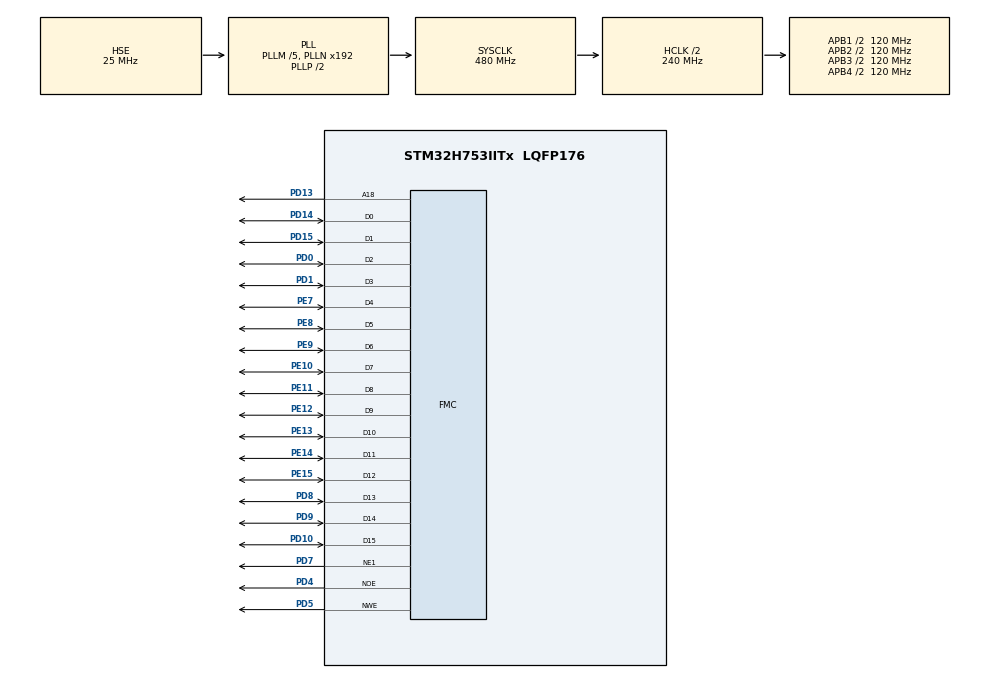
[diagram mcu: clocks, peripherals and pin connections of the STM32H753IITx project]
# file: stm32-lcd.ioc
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CORTEX_M7.default_mode_Activation=1
FMC.BankMapConfig=FMC_SWAPBMAP_DISABLE
FMC.BusTurnAroundDuration1=15
FMC.DataSetupTime1=0x4E
FMC.ExtendedBusTurnAroundDuration1=15
FMC.ExtendedDataSetupTime1=0x0F
FMC.ExtendedMode1=FMC_EXTENDED_MODE_ENABLE
Mcu.Family=STM32H7
Mcu.Name=STM32H753IITx
Mcu.Package=LQFP176
NVIC.PriorityGroup=NVIC_PRIORITYGROUP_4
NVIC.TIM15_IRQn=true\:0\:0\:false\:false\:true\:true\:true\:true
NVIC.TIM2_IRQn=true\:0\:0\:false\:false\:true\:true\:true\:true
PA13\ (JTMS/SWDIO).Mode=Serial_Wire
PA13\ (JTMS/SWDIO).Signal=DEBUG_JTMS-SWDIO
PA14\ (JTCK/SWCLK).Mode=Serial_Wire
PA14\ (JTCK/SWCLK).Signal=DEBUG_JTCK-SWCLK
PC14-OSC32_IN\ (OSC32_IN).Mode=LSE-External-Oscillator
PC14-OSC32_IN\ (OSC32_IN).Signal=RCC_OSC32_IN
PC15-OSC32_OUT\ (OSC32_OUT).Mode=LSE-External-Oscillator
PC15-OSC32_OUT\ (OSC32_OUT).Signal=RCC_OSC32_OUT
PD0.Signal=FMC_D2_DA2
PD1.Signal=FMC_D3_DA3
PD10.Signal=FMC_D15_DA15
PD13.Signal=FMC_A18
PD14.Signal=FMC_D0_DA0
PD15.Signal=FMC_D1_DA1
PD4.Signal=FMC_NOE
PD5.Signal=FMC_NWE
PD7.Mode=NorPsramChipSelect1_1
PD7.Signal=FMC_NE1
PD8.Signal=FMC_D13_DA13
PD9.Signal=FMC_D14_DA14
PE10.Signal=FMC_D7_DA7
PE11.Signal=FMC_D8_DA8
PE12.Signal=FMC_D9_DA9
PE13.Signal=FMC_D10_DA10
PE14.Signal=FMC_D11_DA11
PE15.Signal=FMC_D12_DA12
PE7.Signal=FMC_D4_DA4
PE8.Signal=FMC_D5_DA5
PE9.Signal=FMC_D6_DA6
PH0-OSC_IN\ (PH0).Mode=HSE-External-Oscillator
PH0-OSC_IN\ (PH0).Signal=RCC_OSC_IN
PH1-OSC_OUT\ (PH1).Mode=HSE-External-Oscillator
PH1-OSC_OUT\ (PH1).Signal=RCC_OSC_OUT
ProjectManager.HeapSize=0x200
ProjectManager.StackSize=0x400
ProjectManager.TargetToolchain=CMake
RCC.ADCFreq_Value=62500000
RCC.APB1Freq_Value=120000000
RCC.APB2Freq_Value=120000000
RCC.APB3Freq_Value=120000000
RCC.APB4Freq_Value=120000000
RCC.CortexFreq_Value=480000000
RCC.D1PPRE=RCC_APB3_DIV2
RCC.D2PPRE1=RCC_APB1_DIV2
RCC.D2PPRE2=RCC_APB2_DIV2
RCC.D3PPRE=RCC_APB4_DIV2
RCC.DIVM1=5
RCC.DIVN1=192
RCC.DIVN2=160
RCC.DIVN3=192
RCC.HCLKFreq_Value=240000000
RCC.HPRE=RCC_HCLK_DIV2
RCC.HSE_VALUE=25000000
RCC.PLLSourceVirtual=RCC_PLLSOURCE_HSE
RCC.RTCClockSelection=RCC_RTCCLKSOURCE_LSE
RCC.SYSCLKFreq_VALUE=480000000
RCC.SYSCLKSource=RCC_SYSCLKSOURCE_PLLCLK
RCC.USBFreq_Value=480000000
SH.FMC_A18.0=FMC_A18,A18_1
SH.FMC_D0_DA0.0=FMC_D0,16b-d1
SH.FMC_D10_DA10.0=FMC_D10,16b-d1
SH.FMC_D11_DA11.0=FMC_D11,16b-d1
SH.FMC_D12_DA12.0=FMC_D12,16b-d1
SH.FMC_D13_DA13.0=FMC_D13,16b-d1
SH.FMC_D14_DA14.0=FMC_D14,16b-d1
SH.FMC_D15_DA15.0=FMC_D15,16b-d1
SH.FMC_D1_DA1.0=FMC_D1,16b-d1
SH.FMC_D2_DA2.0=FMC_D2,16b-d1
SH.FMC_D3_DA3.0=FMC_D3,16b-d1
SH.FMC_D4_DA4.0=FMC_D4,16b-d1
SH.FMC_D5_DA5.0=FMC_D5,16b-d1
SH.FMC_D6_DA6.0=FMC_D6,16b-d1
SH.FMC_D7_DA7.0=FMC_D7,16b-d1
SH.FMC_D8_DA8.0=FMC_D8,16b-d1
SH.FMC_D9_DA9.0=FMC_D9,16b-d1
SH.FMC_NOE.0=FMC_NOE,Lcd1
SH.FMC_NWE.0=FMC_NWE,Lcd1
TIM15.AutoReloadPreload=TIM_AUTORELOAD_PRELOAD_ENABLE
TIM15.Period=10000-1
TIM15.Prescaler=24000-1
TIM2.Prescaler=240-1
VP_MEMORYMAP_VS_MEMORYMAP.Mode=CurAppReg
VP_RTC_VS_RTC_Activate.Mode=RTC_Enabled
VP_TIM15_VS_ClockSourceINT.Mode=Internal
VP_TIM2_VS_ClockSourceINT.Mode=Internal
board=custom

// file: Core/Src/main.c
/* USER CODE BEGIN Header */
/**
 ******************************************************************************
 * @file           : main.c
 * @brief          : Main program body
 ******************************************************************************
 * @attention
 *
 * Copyright (c) 2025 STMicroelectronics.
 * All rights reserved.
 *
 * This software is licensed under terms that can be found in the LICENSE file
 * in the root directory of this software component.
 * If no LICENSE file comes with this software, it is provided AS-IS.
 *
 ******************************************************************************
 */
/* USER CODE END Header */
#include "main.h"
#include "rtc.h"
#include "tim.h"
#include "gpio.h"
#include "fmc.h"

/* USER CODE BEGIN Includes */

#include <stdio.h>
#include "sys/sys.h"
#include "delay/delay.h"
#include "key/key.h"
#include "led/led.h"
#include "lcd/lcd.h"
#include "rtc/rtc_ex.h"
#include "tim_callback.h"
#include "bitmap.h"

/* USER CODE END Includes */

void SystemClock_Config(void);
static void MPU_Config(void);

int main(void)
{

  /* USER CODE BEGIN 1 */

  uint8_t lcd_id[13];

  /* USER CODE END 1 */

  /* MPU Configuration--------------------------------------------------------*/
  MPU_Config();

  /* MCU Configuration--------------------------------------------------------*/

  /* Reset of all peripherals, Initializes the Flash interface and the Systick. */
  HAL_Init();

  /* Configure the system clock */
  SystemClock_Config();

  /* Initialize all configured peripherals */
  MX_GPIO_Init();
  MX_FMC_Init();
  MX_RTC_Init();
  MX_TIM15_Init();
  MX_TIM2_Init();
  /* USER CODE BEGIN 2 */

  tim_start_1s_timer();
  tim_start_1us_timer();

  DELAY_Init(tim_get_1us_timer_counter);
  KEY_Init();
  LED_Init();
  LCD_Init(hsram1, p_fmc_ext_timeing);
  RTC_Init();

  /* USER CODE END 2 */

  /* Infinite loop */
  /* USER CODE BEGIN WHILE */

  led_on(1);
  g_back_color = BLUE;
  sprintf((char *)lcd_id, "LCD ID: %04X", lcddev.id);
  lcd_clear(BLUE);
  lcd_show_string(10, 10, 460, 16, 16, (unsigned char *)lcd_id, WHITE);
  tim_show_datetime();
  lcd_fill_circle(220, 250, 25, WHITE);

  lcd_draw_bitmap(30, 50, bitmap_bytes_yuan, 64, 64, 3, MAGENTA);
  lcd_draw_bitmap(230, 50, bitmap_bytes_shen, 64, 64, 3, CYAN);
  lcd_draw_bitmap(30, 240, bitmap_bytes_qi, 64, 64, 3, YELLOW);
  lcd_draw_bitmap(230, 240, bitmap_bytes_dong, 64, 64, 3, BRRED);

  delay_t d1;
  delay_ms_start_async(&d1, 10);
  delay_t d2;
  delay_ms_start_async(&d2, 500);

  while (1) {
    delay_update_async(&d1);
    if (d1.done) {
      delay_ms_start_async(&d1, 10000);
      lcd_fill(10, 450, 470, 790, BLUE);
      lcd_show_multiline_string(10, 450, 460, 340, 16, before_sun_moon, WHITE);
    }

    delay_update_async(&d2);
    if (d2.done) {
      delay_ms_start_async(&d2, 500);
      led_toggle(1);
    }

    /* USER CODE END WHILE */

  }
}

void SystemClock_Config(void)
{
  RCC_OscInitTypeDef RCC_OscInitStruct = {0};
  RCC_ClkInitTypeDef RCC_ClkInitStruct = {0};

  /** Supply configuration update enable
  */
  HAL_PWREx_ConfigSupply(PWR_LDO_SUPPLY);

  /** Configure the main internal regulator output voltage
  */
  __HAL_PWR_VOLTAGESCALING_CONFIG(PWR_REGULATOR_VOLTAGE_SCALE0);

  while(!__HAL_PWR_GET_FLAG(PWR_FLAG_VOSRDY)) {}

  /** Configure LSE Drive Capability
  */
  HAL_PWR_EnableBkUpAccess();
  __HAL_RCC_LSEDRIVE_CONFIG(RCC_LSEDRIVE_LOW);

  /** Initializes the RCC Oscillators according to the specified parameters
  * in the RCC_OscInitTypeDef structure.
  */
  RCC_OscInitStruct.OscillatorType = RCC_OSCILLATORTYPE_HSE|RCC_OSCILLATORTYPE_LSE;
  RCC_OscInitStruct.HSEState = RCC_HSE_ON;
  RCC_OscInitStruct.LSEState = RCC_LSE_ON;
  RCC_OscInitStruct.PLL.PLLState = RCC_PLL_ON;
  RCC_OscInitStruct.PLL.PLLSource = RCC_PLLSOURCE_HSE;
  RCC_OscInitStruct.PLL.PLLM = 5;
  RCC_OscInitStruct.PLL.PLLN = 192;
  RCC_OscInitStruct.PLL.PLLP = 2;
  RCC_OscInitStruct.PLL.PLLQ = 2;
  RCC_OscInitStruct.PLL.PLLR = 2;
  RCC_OscInitStruct.PLL.PLLRGE = RCC_PLL1VCIRANGE_2;
  RCC_OscInitStruct.PLL.PLLVCOSEL = RCC_PLL1VCOWIDE;
  RCC_OscInitStruct.PLL.PLLFRACN = 0;
  if (HAL_RCC_OscConfig(&RCC_OscInitStruct) != HAL_OK)
  {
    Error_Handler();
  }

  /** Initializes the CPU, AHB and APB buses clocks
  */
  RCC_ClkInitStruct.ClockType = RCC_CLOCKTYPE_HCLK|RCC_CLOCKTYPE_SYSCLK
                              |RCC_CLOCKTYPE_PCLK1|RCC_CLOCKTYPE_PCLK2
                              |RCC_CLOCKTYPE_D3PCLK1|RCC_CLOCKTYPE_D1PCLK1;
  RCC_ClkInitStruct.SYSCLKSource = RCC_SYSCLKSOURCE_PLLCLK;
  RCC_ClkInitStruct.SYSCLKDivider = RCC_SYSCLK_DIV1;
  RCC_ClkInitStruct.AHBCLKDivider = RCC_HCLK_DIV2;
  RCC_ClkInitStruct.APB3CLKDivider = RCC_APB3_DIV2;
  RCC_ClkInitStruct.APB1CLKDivider = RCC_APB1_DIV2;
  RCC_ClkInitStruct.APB2CLKDivider = RCC_APB2_DIV2;
  RCC_ClkInitStruct.APB4CLKDivider = RCC_APB4_DIV2;

  if (HAL_RCC_ClockConfig(&RCC_ClkInitStruct, FLASH_LATENCY_4) != HAL_OK)
  {
    Error_Handler();
  }
}

 /* MPU Configuration */

void MPU_Config(void)
{
  MPU_Region_InitTypeDef MPU_InitStruct = {0};

  /* Disables the MPU */
  HAL_MPU_Disable();

  /** Initializes and configures the Region and the memory to be protected
  */
  MPU_InitStruct.Enable = MPU_REGION_ENABLE;
  MPU_InitStruct.Number = MPU_REGION_NUMBER0;
  MPU_InitStruct.BaseAddress = 0x0;
  MPU_InitStruct.Size = MPU_REGION_SIZE_4GB;
  MPU_InitStruct.SubRegionDisable = 0x87;
  MPU_InitStruct.TypeExtField = MPU_TEX_LEVEL0;
  MPU_InitStruct.AccessPermission = MPU_REGION_NO_ACCESS;
  MPU_InitStruct.DisableExec = MPU_INSTRUCTION_ACCESS_DISABLE;
  MPU_InitStruct.IsShareable = MPU_ACCESS_SHAREABLE;
  MPU_InitStruct.IsCacheable = MPU_ACCESS_NOT_CACHEABLE;
  MPU_InitStruct.IsBufferable = MPU_ACCESS_NOT_BUFFERABLE;

  HAL_MPU_ConfigRegion(&MPU_InitStruct);
  /* Enables the MPU */
  HAL_MPU_Enable(MPU_PRIVILEGED_DEFAULT);

}

void Error_Handler(void)
{
  __disable_irq();
  while (1) {
  }
}
#ifdef USE_FULL_ASSERT
/**
  * @brief  Reports the name of the source file and the source line number
  *         where the assert_param error has occurred.
  * @param  file: pointer to the source file name
  * @param  line: assert_param error line source number
  * @retval None
  */
void assert_failed(uint8_t *file, uint32_t line)
{
  /* USER CODE BEGIN 6 */
  /* User can add his own implementation to report the file name and line
     number, ex: printf("Wrong parameters value: file %s on line %d\r\n", file,
     line) */
  /* USER CODE END 6 */
}
#endif /* USE_FULL_ASSERT */
